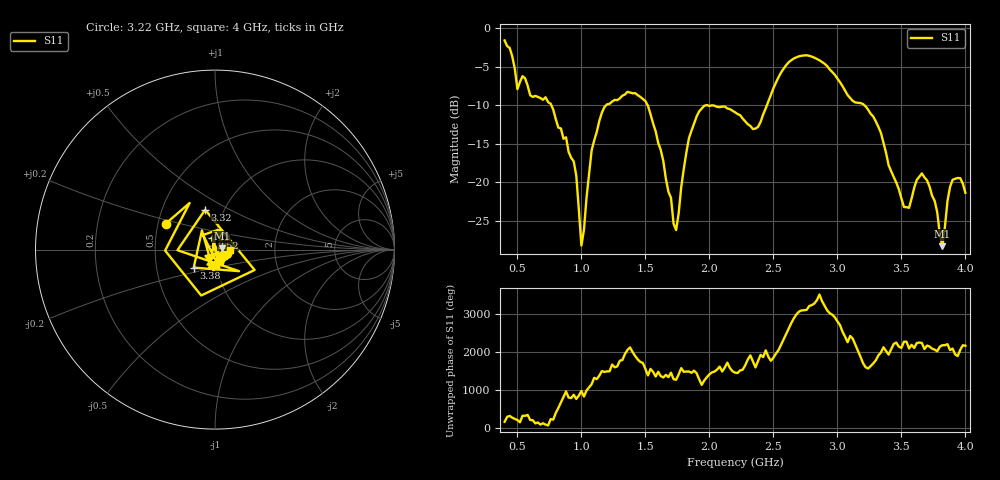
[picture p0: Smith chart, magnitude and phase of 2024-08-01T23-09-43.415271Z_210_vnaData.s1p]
!Created with skrf (http://scikit-rf.org).
# Hz S RI R 50.0
!freq ReS11 ImS11
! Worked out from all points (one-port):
!   181 points, 400 MHz to 4 GHz, reference 50 ohm
!   lowest |S11| = -28.3 dB at 3.82 GHz (marker M1), VSWR 1.08, Z = 53.9 + j0.866 ohm
!   |S11| at or under -10 dB: 1.517 GHz to 1.976 GHz (459.1 MHz wide, 26.3 % of centre); 1.983 GHz to 2.45 GHz (466.6 MHz wide, 21.1 % of centre); 3.21 GHz to end of sweep (the widest 3 of 4)
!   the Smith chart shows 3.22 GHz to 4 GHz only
!   S11 on the Smith chart (normalised r, x): 3.22 GHz: 0.55, +0.17; 3.32 GHz: 0.82, +0.38; 3.38 GHz: 0.77, -0.16; 3.52 GHz: 0.96, +0.13; 4 GHz: 1.19, -0.01
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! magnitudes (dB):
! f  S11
! 400 MHz  -1.6
! 500 MHz  -7.9
! 720 MHz  -9.0
! 860 MHz  -14.4
! 960 MHz  -19.1
! 1 GHz  -28.2
! 1.1 GHz  -14.6
! 1.18 GHz  -10.2
! 1.3 GHz  -9.1
! 1.52 GHz  -10.1
! 1.72 GHz  -25.4
! 1.76 GHz  -24.0
! 1.84 GHz  -14.3
! 1.92 GHz  -10.8
! 2.2 GHz  -10.9
! 2.38 GHz  -12.8
! 2.66 GHz  -3.9
! 3.1 GHz  -9.1
! 3.22 GHz  -10.1
! 3.32 GHz  -12.8
! 3.38 GHz  -16.2
! 3.52 GHz  -23.2
! 3.56 GHz  -23.3
! 3.66 GHz  -18.8
! 3.76 GHz  -22.4
! 3.82 GHz  -28.3
! 3.9 GHz  -19.7
! 4 GHz  -21.4
